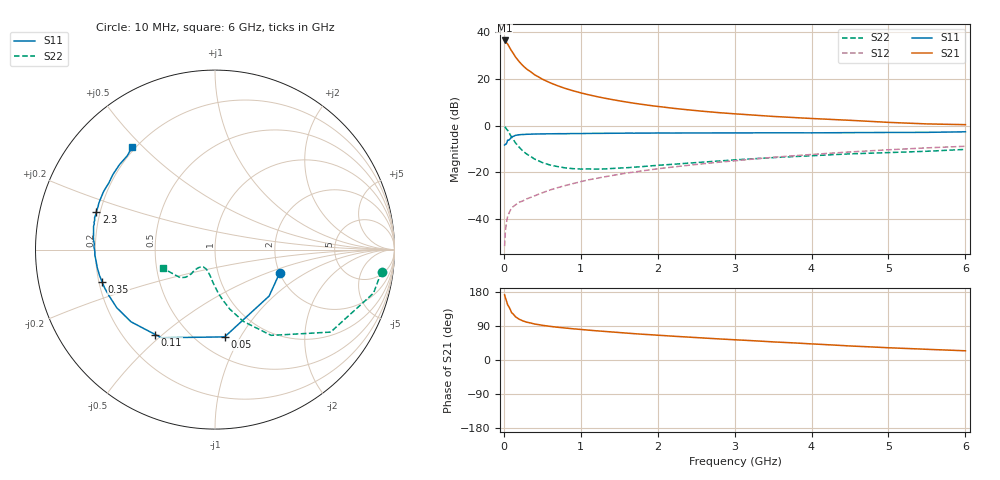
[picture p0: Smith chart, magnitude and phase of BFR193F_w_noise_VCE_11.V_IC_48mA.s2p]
! Infineon Technologies  Discrete & RF Semiconductors
! BFR193F
! VCE =  11. V,  IC =  48 mA
! Common Emitter S-Parameters:  Jan 2017
# GHz  S  MA  R  50
!  f  S11  S21  S12  S22
! GHz  MAG  ANG  MAG  ANG  MAG  ANG  MAG  ANG
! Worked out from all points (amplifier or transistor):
!   77 points, 10 MHz to 6 GHz, reference 50 ohm
!   highest |S21| = 36.5 dB at 10 MHz (marker M1)
!   |S21| within 3 dB of that: start of sweep to 74.63 MHz
!   unconditionally stable (mu >= 1): 911.7 MHz to 2.639 GHz
!   at 130 MHz: K = 0.42, MSG = 32.5 dB, |S12| = -34.5 dB
!   at 2.2 GHz: K = 1.02, MAG = 11.8 dB, |S12| = -17.8 dB
!   at 6 GHz: K = 0.83, MSG = 4.6 dB, |S12| = -8.9 dB
!   lowest NFmin = 1.45 dB at 450 MHz
!   S11 on the Smith chart (normalised r, x): 10 MHz: 2.01, -0.61; 50 MHz: 0.67, -0.86; 110 MHz: 0.33, -0.47; 350 MHz: 0.21, -0.13; 2.3 GHz: 0.19, +0.15; 6 GHz: 0.19, +0.47
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0.01  0.3832 -19.6  66.77 171.7  0.0026 72.5  0.9361 -7.5
0.02  0.3974 -40.6  64.91 164.1  0.0054 73.1  0.916 -15.3
0.05  0.4893 -83.7  55.69 145.3  0.0114 65.8  0.7916 -35.5
0.1  0.5749 -121.3  40.06 125.1  0.0171 54.0  0.5708 -56.8
0.11  0.5785 -125.1  37.92 123.4  0.0177 53.1  0.5408 -58.7
0.15  0.617 -139.3  29.8 114.3  0.0199 50.1  0.4285 -68.6
0.2  0.6361 -149.4  23.37 107.5  0.0227 50.4  0.3431 -75.9
0.25  0.6439 -156.4  19.09 103.0  0.0244 51.4  0.2816 -81.5
0.3  0.6511 -160.9  16.14 99.7  0.0269 54.3  0.2434 -85.7
0.35  0.6542 -164.2  14.19 97.6  0.029 56.1  0.217 -88.6
0.4  0.6594 -167.4  12.27 94.9  0.0312 57.7  0.1914 -92.3
0.5  0.6638 -171.4  9.894 91.6  0.0362 61.2  0.1613 -97.5
0.6  0.6656 -174.6  8.292 88.8  0.0416 63.7  0.1427 -102.2
0.8  0.6697 -179.1  6.249 84.4  0.0519 67.7  0.1238 -110.8
1.1  0.6791 175.4  4.582 78.8  0.0687 70.4  0.1175 -119.7
1.5  0.6859 170.5  3.392 72.5  0.0904 72.0  0.1229 -128.0
2.1  0.6931 164.3  2.461 64.2  0.124 72.9  0.1443 -133.4
2.3  0.6935 162.5  2.259 61.6  0.1351 72.8  0.1523 -134.0
3.1  0.6978 155.8  1.743 52.4  0.1822 71.8  0.1882 -134.4
4.1  0.6996 147.1  1.394 41.5  0.2466 68.5  0.2298 -137.7
5.1  0.7126 137.2  1.154 31.5  0.3086 63.4  0.267 -148.9
6  0.7356 128.7  1.046 24.3  0.3602 58.4  0.3086 -160.5
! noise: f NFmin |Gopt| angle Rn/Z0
0.45  1.45  0.46  -180  0.07
0.9  1.54  0.47  -179  0.07
1.9  2.11  0.6  -164  0.09
2.4  2.42  0.62  -156  0.14
